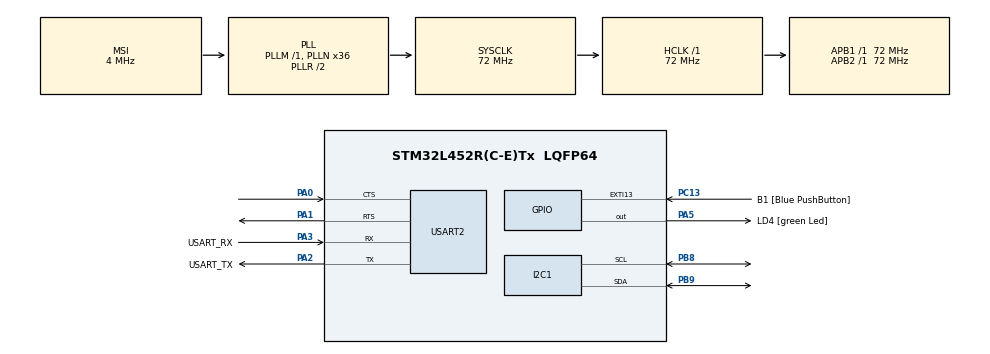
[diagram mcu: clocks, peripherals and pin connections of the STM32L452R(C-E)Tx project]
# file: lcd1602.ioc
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I2C1.Timing=0x10808DD3
Mcu.Family=STM32L4
Mcu.Name=STM32L452R(C-E)Tx
Mcu.Package=LQFP64
NVIC.PriorityGroup=NVIC_PRIORITYGROUP_4
NVIC.USART2_IRQn=true\:0\:0\:false\:false\:true\:true\:true\:true
PA0.Mode=CTS_RTS
PA0.Signal=USART2_CTS
PA1.Mode=CTS_RTS
PA1.Signal=USART2_RTS
PA13\ (JTMS/SWDIO).GPIO_Label=TMS
PA13\ (JTMS/SWDIO).Mode=Serial_Wire
PA13\ (JTMS/SWDIO).Signal=SYS_JTMS-SWDIO
PA14\ (JTCK/SWCLK).GPIO_Label=TCK
PA14\ (JTCK/SWCLK).Mode=Serial_Wire
PA14\ (JTCK/SWCLK).Signal=SYS_JTCK-SWCLK
PA2.GPIO_Label=USART_TX
PA2.GPIO_Mode=GPIO_MODE_AF_PP
PA2.GPIO_PuPd=GPIO_NOPULL
PA2.GPIO_Speed=GPIO_SPEED_FREQ_VERY_HIGH
PA2.Mode=Asynchronous
PA2.Signal=USART2_TX
PA3.GPIO_Label=USART_RX
PA3.GPIO_Mode=GPIO_MODE_AF_PP
PA3.GPIO_PuPd=GPIO_NOPULL
PA3.GPIO_Speed=GPIO_SPEED_FREQ_VERY_HIGH
PA3.Mode=Asynchronous
PA3.Signal=USART2_RX
PA5.GPIO_Label=LD4 [green Led]
PA5.GPIO_ModeDefaultOutputPP=GPIO_MODE_OUTPUT_PP
PA5.GPIO_PuPd=GPIO_NOPULL
PA5.GPIO_Speed=GPIO_SPEED_FREQ_LOW
PA5.Signal=GPIO_Output
PB3\ (JTDO/TRACESWO).GPIO_Label=SWO
PB3\ (JTDO/TRACESWO).Signal=SYS_JTDO-SWO
PB8.Mode=I2C
PB8.Signal=I2C1_SCL
PB9.Mode=I2C
PB9.Signal=I2C1_SDA
PC13.GPIO_Label=B1 [Blue PushButton]
PC13.GPIO_ModeDefaultEXTI=GPIO_MODE_IT_FALLING
PC13.GPIO_PuPd=GPIO_NOPULL
PC13.Signal=GPXTI13
PC14-OSC32_IN\ (PC14).Signal=RCC_OSC32_IN
PC15-OSC32_OUT\ (PC15).Signal=RCC_OSC32_OUT
PH0-OSC_IN\ (PH0).Mode=HSE-External-Oscillator
PH0-OSC_IN\ (PH0).Signal=RCC_OSC_IN
PH1-OSC_OUT\ (PH1).Mode=HSE-External-Oscillator
PH1-OSC_OUT\ (PH1).Signal=RCC_OSC_OUT
ProjectManager.HeapSize=0x200
ProjectManager.StackSize=0x400
ProjectManager.TargetToolchain=STM32CubeIDE
RCC.ADCFreq_Value=16000000
RCC.AHBFreq_Value=72000000
RCC.APB1Freq_Value=72000000
RCC.APB1TimFreq_Value=72000000
RCC.APB2Freq_Value=72000000
RCC.APB2TimFreq_Value=72000000
RCC.CortexFreq_Value=72000000
RCC.HCLKFreq_Value=72000000
RCC.HSE_VALUE=8000000
RCC.HSI48_VALUE=48000000
RCC.HSI_VALUE=16000000
RCC.MSI_VALUE=4000000
RCC.PLLN=36
RCC.PREFETCH_ENABLE=1
RCC.SYSCLKFreq_VALUE=72000000
RCC.SYSCLKSource=RCC_SYSCLKSOURCE_PLLCLK
RCC.USBFreq_Value=16000000
RCC.VCOOutputFreq_Value=144000000
USART2.VirtualMode-Asynchronous=VM_ASYNC
board=NUCLEO-L452RE

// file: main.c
/* USER CODE BEGIN Header */
/**
  ******************************************************************************
  * @file           : main.c
  * @brief          : Main program body
  ******************************************************************************
  * @attention
  *
  * Copyright (c) 2024 STMicroelectronics.
  * All rights reserved.
  *
  * This software is licensed under terms that can be found in the LICENSE file
  * in the root directory of this software component.
  * If no LICENSE file comes with this software, it is provided AS-IS.
  *
  ******************************************************************************
  */
/* USER CODE END Header */
#include "main.h"

/* USER CODE BEGIN Includes */
#include <stdio.h>
/* USER CODE END Includes */

/* USER CODE BEGIN PTD */

//#ifdef __GNUC__
/* With GCC/RAISONANCE, small printf (option LD Linker->Libraries->Small printf
   set to 'Yes') calls __io_putchar() */
//#define PUTCHAR_PROTOTYPE int __io_putchar(int ch)
//#else
//#define PUTCHAR_PROTOTYPE int fputc(int ch, FILE *f)
//#endif /* __GNUC__ */

#define LCD_ADDRESS	0x4E
/* USER CODE END PTD */

I2C_HandleTypeDef hi2c1;

UART_HandleTypeDef huart2;

void SystemClock_Config(void);
static void MX_GPIO_Init(void);
static void MX_USART2_UART_Init(void);
static void MX_I2C1_Init(void);
/* USER CODE BEGIN PFP */
void lcd_send_string (char *str);
void lcd_Init();
void lcd_clear();
void lcd_send_data(char data);
void lcd_send_cmd(char cmd);
void lcd_put_cur(uint8_t row,uint8_t col);
/* USER CODE END PFP */

/* USER CODE BEGIN 0 */

// Buffer to store received data
#define RX_BUFFER_SIZE 50
char rxBuffer[RX_BUFFER_SIZE];
char s[]="hahahaha";
uint8_t t;
//char t;
//void USART2_IRQHandler(void);
int _write(int file, char *ptr, int len) {
    HAL_UART_Transmit(&huart2, (uint8_t*)ptr, len, HAL_MAX_DELAY);

    return len;
}

void HAL_UART_RxCpltCallback(UART_HandleTypeDef *huart)
{
	printf("receive____%c\r\n",t);
	HAL_GPIO_TogglePin (GPIOA, GPIO_PIN_5);  // toggle LED
	HAL_UART_Receive_IT(&huart2, &t, 1);
	//HAL_UART_Receive_IT(&huart2, (uint8_t*)&t, 1);
}
/* USER CODE END 0 */

int main(void)
{

  /* MCU Configuration--------------------------------------------------------*/

  /* Reset of all peripherals, Initializes the Flash interface and the Systick. */
  HAL_Init();

  /* Configure the system clock */
  SystemClock_Config();

  /* Initialize all configured peripherals */
  MX_GPIO_Init();
  MX_USART2_UART_Init();
  MX_I2C1_Init();
  /* USER CODE BEGIN 2 */

  __HAL_RCC_GPIOA_CLK_ENABLE(); // Enable the GPIOA clock

  __HAL_RCC_GPIOC_CLK_ENABLE(); // Enable the GPIOC clock

  GPIO_InitTypeDef GPIO_InitStruct1 = {0};
  // Configure LD3 pin (PC13) as output
  GPIO_InitStruct1.Pin = GPIO_PIN_13; // LD3 LED is often connected to pin PC13
  GPIO_InitStruct1.Mode = GPIO_MODE_OUTPUT_PP;
  GPIO_InitStruct1.Pull = GPIO_NOPULL;
  GPIO_InitStruct1.Speed = GPIO_SPEED_FREQ_LOW;

  HAL_GPIO_Init(GPIOC, &GPIO_InitStruct1);

  // Turn off LD3
  HAL_GPIO_WritePin(GPIOC, GPIO_PIN_13, GPIO_PIN_RESET);

  GPIO_InitTypeDef GPIO_InitStruct = {0};
  // Configure LD2 pin as output
  GPIO_InitStruct.Pin = GPIO_PIN_5;  // LD2 LED is often connected to pin PA5
  GPIO_InitStruct.Mode = GPIO_MODE_OUTPUT_PP;
  GPIO_InitStruct.Pull = GPIO_NOPULL;
  GPIO_InitStruct.Speed = GPIO_SPEED_FREQ_LOW;

  HAL_GPIO_Init(GPIOA, &GPIO_InitStruct);
  /* USER CODE END 2 */

  /* Infinite loop */
  /* USER CODE BEGIN WHILE */
  //int row=0,col=0;

	HAL_UART_Receive_IT(&huart2, &t, 1);

	lcd_Init();

	  lcd_send_string ("HELLO WORLD");

	  HAL_Delay(1000);

	  lcd_put_cur(1, 3);

	  lcd_send_string("from 2024");

	  HAL_Delay(5000);

	  //lcd_clear ();
//  lcd_Init();
//  lcd_put_cur(0,2);
//  lcd_send_string("Hello World!");
//  HAL_Delay(1000);
//  lcd_clear();
//  HAL_Delay(1000);
//  HAL_UART_Receive_IT(&huart2, &t, 1);

  while (1)
  {
    /* USER CODE END WHILE */

    /* USER CODE BEGIN 3 */

//	  for (int i=0;i<128;i++)
//	  {
//		  lcd_put_cur(row, col);
//
//		  lcd_send_data(i+48);
//
//		  col++;
//
//		  if (col > 15) {row++; col = 0;}
//		  if (row > 1) row=0;
//
//		  HAL_Delay(250);
//	  }

  }
  /* USER CODE END 3 */
}

void lcd_send_cmd(char cmd)
{
	char data_h,data_l;
	uint8_t frame_data[4];
	data_h = (cmd&0xf0);
	data_l = ((cmd <<4)&0xf0);
	frame_data[0] = data_h | 0x0C;
	frame_data[1] = data_h | 0x08;
	frame_data[2] = data_l | 0x0C;
	frame_data[3] = data_l | 0x08;

	HAL_I2C_Master_Transmit(&hi2c1,LCD_ADDRESS,(uint8_t *)frame_data,4,100);

}

void lcd_send_data(char data)
{
	char data_h,data_l;
	uint8_t frame_data[4];
	data_h = (data&0xf0);
	data_l = ((data <<4)&0xf0);
	frame_data[0] = data_h | 0x0D;
	frame_data[1] = data_h | 0x09;
	frame_data[2] = data_l | 0x0D;
	frame_data[3] = data_l | 0x09;

	HAL_I2C_Master_Transmit(&hi2c1,LCD_ADDRESS,(uint8_t *)frame_data,4,100);

}

void lcd_clear()
{
	lcd_send_cmd(0x01);
	HAL_Delay(1);
}

void lcd_Init()
{
	HAL_Delay(50);
	lcd_send_cmd(0x30);
	HAL_Delay(5);
	lcd_send_cmd(0x30);
	HAL_Delay(1);
	lcd_send_cmd(0x30);
	HAL_Delay(10);
	lcd_send_cmd(0x20);
	HAL_Delay(10);

	lcd_send_cmd(0x28);		//function set
	HAL_Delay(10);
	lcd_send_cmd(0x08);		//Display on/off
	HAL_Delay(10);
	lcd_send_cmd(0x01);		//clear display
	HAL_Delay(10);
	lcd_send_cmd(0x06);		//Enter mode
	HAL_Delay(10);
	lcd_send_cmd(0x0C);		//Display on/off
	HAL_Delay(1);

}

void lcd_send_string (char *str)
{
	while(*str)   lcd_send_data(*str++);

}

void lcd_put_cur(uint8_t row,uint8_t col)
{
	lcd_send_cmd(0x80 | (col + (0x40 * row)));
}

void SystemClock_Config(void)
{
  RCC_OscInitTypeDef RCC_OscInitStruct = {0};
  RCC_ClkInitTypeDef RCC_ClkInitStruct = {0};

  /** Configure the main internal regulator output voltage
  */
  if (HAL_PWREx_ControlVoltageScaling(PWR_REGULATOR_VOLTAGE_SCALE1) != HAL_OK)
  {
    Error_Handler();
  }

  /** Initializes the RCC Oscillators according to the specified parameters
  * in the RCC_OscInitTypeDef structure.
  */
  RCC_OscInitStruct.OscillatorType = RCC_OSCILLATORTYPE_MSI;
  RCC_OscInitStruct.MSIState = RCC_MSI_ON;
  RCC_OscInitStruct.MSICalibrationValue = 0;
  RCC_OscInitStruct.MSIClockRange = RCC_MSIRANGE_6;
  RCC_OscInitStruct.PLL.PLLState = RCC_PLL_ON;
  RCC_OscInitStruct.PLL.PLLSource = RCC_PLLSOURCE_MSI;
  RCC_OscInitStruct.PLL.PLLM = 1;
  RCC_OscInitStruct.PLL.PLLN = 36;
  RCC_OscInitStruct.PLL.PLLP = RCC_PLLP_DIV7;
  RCC_OscInitStruct.PLL.PLLQ = RCC_PLLQ_DIV2;
  RCC_OscInitStruct.PLL.PLLR = RCC_PLLR_DIV2;
  if (HAL_RCC_OscConfig(&RCC_OscInitStruct) != HAL_OK)
  {
    Error_Handler();
  }

  /** Initializes the CPU, AHB and APB buses clocks
  */
  RCC_ClkInitStruct.ClockType = RCC_CLOCKTYPE_HCLK|RCC_CLOCKTYPE_SYSCLK
                              |RCC_CLOCKTYPE_PCLK1|RCC_CLOCKTYPE_PCLK2;
  RCC_ClkInitStruct.SYSCLKSource = RCC_SYSCLKSOURCE_PLLCLK;
  RCC_ClkInitStruct.AHBCLKDivider = RCC_SYSCLK_DIV1;
  RCC_ClkInitStruct.APB1CLKDivider = RCC_HCLK_DIV1;
  RCC_ClkInitStruct.APB2CLKDivider = RCC_HCLK_DIV1;

  if (HAL_RCC_ClockConfig(&RCC_ClkInitStruct, FLASH_LATENCY_4) != HAL_OK)
  {
    Error_Handler();
  }
}

static void MX_I2C1_Init(void)
{

  hi2c1.Instance = I2C1;
  hi2c1.Init.Timing = 0x10808DD3;
  hi2c1.Init.OwnAddress1 = 0;
  hi2c1.Init.AddressingMode = I2C_ADDRESSINGMODE_7BIT;
  hi2c1.Init.DualAddressMode = I2C_DUALADDRESS_DISABLE;
  hi2c1.Init.OwnAddress2 = 0;
  hi2c1.Init.OwnAddress2Masks = I2C_OA2_NOMASK;
  hi2c1.Init.GeneralCallMode = I2C_GENERALCALL_DISABLE;
  hi2c1.Init.NoStretchMode = I2C_NOSTRETCH_DISABLE;
  if (HAL_I2C_Init(&hi2c1) != HAL_OK)
  {
    Error_Handler();
  }

  /** Configure Analogue filter
  */
  if (HAL_I2CEx_ConfigAnalogFilter(&hi2c1, I2C_ANALOGFILTER_ENABLE) != HAL_OK)
  {
    Error_Handler();
  }

  /** Configure Digital filter
  */
  if (HAL_I2CEx_ConfigDigitalFilter(&hi2c1, 0) != HAL_OK)
  {
    Error_Handler();
  }

}

static void MX_USART2_UART_Init(void)
{

  huart2.Instance = USART2;
  huart2.Init.BaudRate = 115200;
  huart2.Init.WordLength = UART_WORDLENGTH_8B;
  huart2.Init.StopBits = UART_STOPBITS_1;
  huart2.Init.Parity = UART_PARITY_NONE;
  huart2.Init.Mode = UART_MODE_TX_RX;
  huart2.Init.HwFlowCtl = UART_HWCONTROL_RTS_CTS;
  huart2.Init.OverSampling = UART_OVERSAMPLING_16;
  huart2.Init.OneBitSampling = UART_ONE_BIT_SAMPLE_DISABLE;
  huart2.AdvancedInit.AdvFeatureInit = UART_ADVFEATURE_NO_INIT;
  if (HAL_UART_Init(&huart2) != HAL_OK)
  {
    Error_Handler();
  }

}

static void MX_GPIO_Init(void)
{
  GPIO_InitTypeDef GPIO_InitStruct = {0};

  /* GPIO Ports Clock Enable */
  __HAL_RCC_GPIOC_CLK_ENABLE();
  __HAL_RCC_GPIOH_CLK_ENABLE();
  __HAL_RCC_GPIOA_CLK_ENABLE();
  __HAL_RCC_GPIOB_CLK_ENABLE();

  /*Configure GPIO pin Output Level */
  HAL_GPIO_WritePin(LD4_GPIO_Port, LD4_Pin, GPIO_PIN_RESET);

  /*Configure GPIO pin : B1_Pin */
  GPIO_InitStruct.Pin = B1_Pin;
  GPIO_InitStruct.Mode = GPIO_MODE_IT_FALLING;
  GPIO_InitStruct.Pull = GPIO_NOPULL;
  HAL_GPIO_Init(B1_GPIO_Port, &GPIO_InitStruct);

  /*Configure GPIO pin : LD4_Pin */
  GPIO_InitStruct.Pin = LD4_Pin;
  GPIO_InitStruct.Mode = GPIO_MODE_OUTPUT_PP;
  GPIO_InitStruct.Pull = GPIO_NOPULL;
  GPIO_InitStruct.Speed = GPIO_SPEED_FREQ_LOW;
  HAL_GPIO_Init(LD4_GPIO_Port, &GPIO_InitStruct);

}

void Error_Handler(void)
{
  __disable_irq();
  while (1)
  {
  }
}
